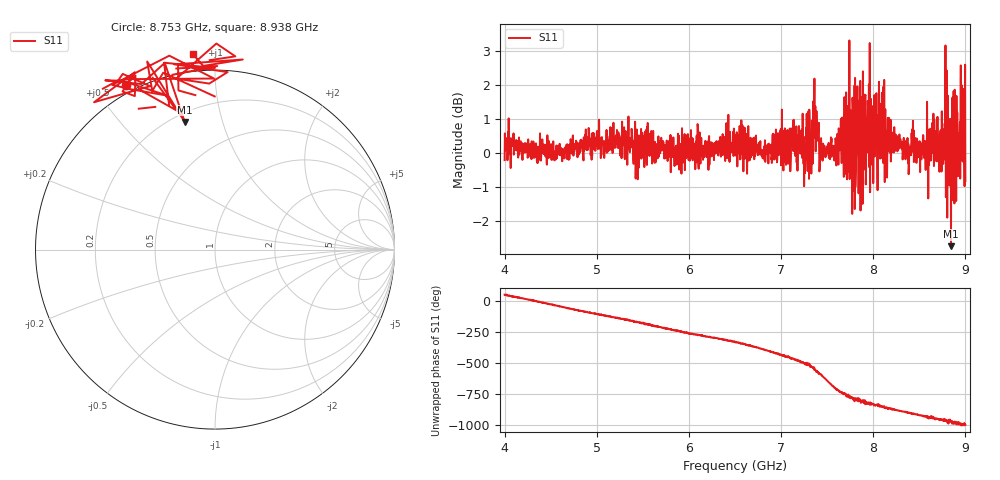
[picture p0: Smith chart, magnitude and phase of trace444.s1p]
! Created with skrf 1.8.0 (http://scikit-rf.org).
# Hz S RI R 50.0
!freq ReS11 ImS11
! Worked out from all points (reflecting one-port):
!   1601 points, 4 GHz to 9 GHz, reference 50 ohm
!   lowest |S11| = -2.7 dB at 8.844 GHz (marker M1), VSWR 6.42, Z = 12.5 + j38 ohm
!   phase of S11 starts at 51 deg and turns -1050 deg over the sweep
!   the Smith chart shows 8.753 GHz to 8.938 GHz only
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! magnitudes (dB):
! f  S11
! 4 GHz  -0.2
! 4.028 GHz  0.4
! 4.625 GHz  -0.2
! 5.25 GHz  0.2
! 5.875 GHz  0.0
! 6.5 GHz  0.5
! 6.806 GHz  -0.1
! 7.125 GHz  0.3
! 7.266 GHz  -0.1
! 7.284 GHz  0.5
! 7.328 GHz  -0.6
! 7.372 GHz  1.4
! 7.441 GHz  0.2
! 7.597 GHz  0.0
! 7.716 GHz  -0.8
! 7.75 GHz  -0.5
! 7.788 GHz  0.4
! 7.822 GHz  0.4
! 7.875 GHz  0.9
! 7.891 GHz  0.2
! 7.981 GHz  -0.3
! 8.106 GHz  -0.3
! 8.375 GHz  0.1
! 8.697 GHz  1.1
! 8.772 GHz  -0.2
! 8.844 GHz  -2.7
! 8.972 GHz  0.2
! 9 GHz  -0.8
